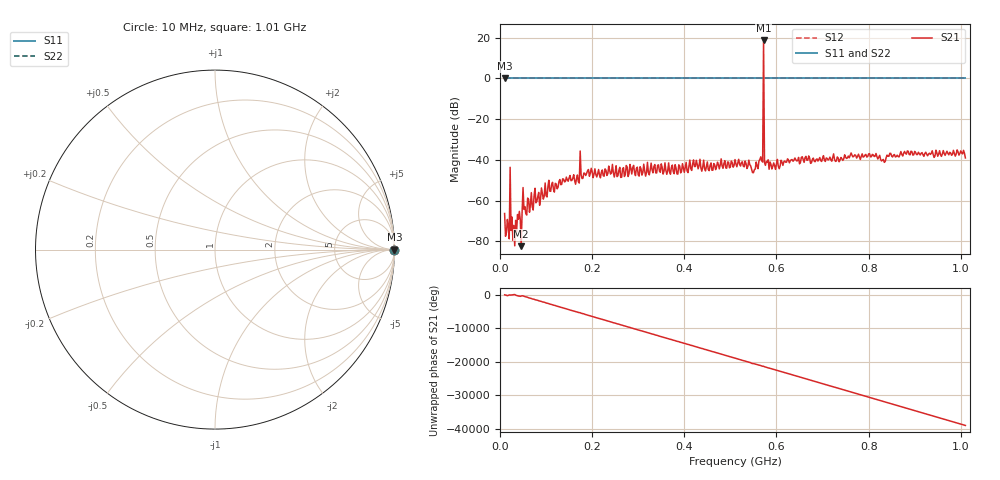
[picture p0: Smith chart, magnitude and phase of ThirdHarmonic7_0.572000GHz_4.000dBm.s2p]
! 8/17/2025 5:40:35 PM
! C:\ANRITSUVNA\TEMP\TEMP.S2P
! CHANNEL.1
! TR.MEASUREMENT
! RAW.DATA
! RF.CORRECTION.OFF
! AVERAGING.OFF
! IF.BANDWIDTH: 5KHZ
! SWEEPTYPE:  FREQ.SWEEP(Linear)
! Reference Plane Port Info
! PORT:  PORT1  PORT2
! DISTANCE:  0  m  0  m
! TIME:  0  s  0  s
! PHASE.OFFSET:  0  deg.  0  deg.
! LOSS:  0  dB  0  dB
! REF.LOSS:  0  dB  0  dB
! REF.FREQ:  0  Hz  0  Hz
! Power Info
! POWER:  -20  dBm  -20  dBm
! EFF.POWER:  -20  dBm  -20  dBm
! SOURCE.ATTEN:  0  dB  0  dB
! TEST.ATTEN:  0  dB  0  dB
# GHZ S RI R 50.0
! FREQ.GHZ  S11RE  S11IM  S21RE  S21IM  S12RE  S12IM  S22RE  S22IM
!; PortSelection: Port_12
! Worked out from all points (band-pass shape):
!   501 points, 10 MHz to 1.01 GHz, reference 50 ohm
!   highest |S21| = 18.64 dB at 572 MHz (marker M1); lowest = -82.3 dB at 46 MHz (marker M2)
!   |S21| within 3 dB of the highest: 571.8994 MHz to 572.1002 MHz (200.7 kHz wide, 0.0351 % of centre)
!   lowest |S11| = 0.0 dB at 10 MHz (marker M3)
!   |S11| at or under -10 dB: nowhere
!   |S22| runs from 0.0 to 0.0 dB; largest |S21 - S12| = 8.3
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0.01  1 0  0.000486 8.3e-06  1 0  1 0
0.016  1 0  2.43e-05 0.000346  1 0  1 0
0.018  1 0  -0.000203 -0.000113  1 0  1 0
0.026  1 0  0.000321 -0.000237  1 0  1 0
0.028  1 0  0.000105 2.21e-05  1 0  1 0
0.032  1 0  9.9e-06 7.75e-05  1 0  1 0
0.046  1 0  7.63e-05 8.6e-06  1 0  1 0
0.052  1 0  0.000147 -0.000596  1 0  1 0
0.102  1 0  0.00102 0.000701  1 0  1 0
0.168  1 0  -0.00185 -0.00385  1 0  1 0
0.178  1 0  -0.00334 -0.00105  1 0  1 0
0.344  1 0  0.00721 -0.00236  1 0  1 0
0.51  1 0  -0.0101 -0.00144  1 0  1 0
0.55  1 0  0.00487 6.66e-05  1 0  1 0
0.566  1 0  -0.00156 0.0119  1 0  1 0
0.568  1 0  0.00916 0.00307  1 0  1 0
0.572  1 0  3.008 -8.009  1 0  1 0
0.576  1 0  0.00317 0.00667  1 0  1 0
0.578  1 0  0.00879 -0.00279  1 0  1 0
0.678  1 0  0.00444 -0.00939  1 0  1 0
0.844  1 0  -0.00406 0.0116  1 0  1 0
1.01  1 0  -0.0026 -0.0109  1 0  1 0
